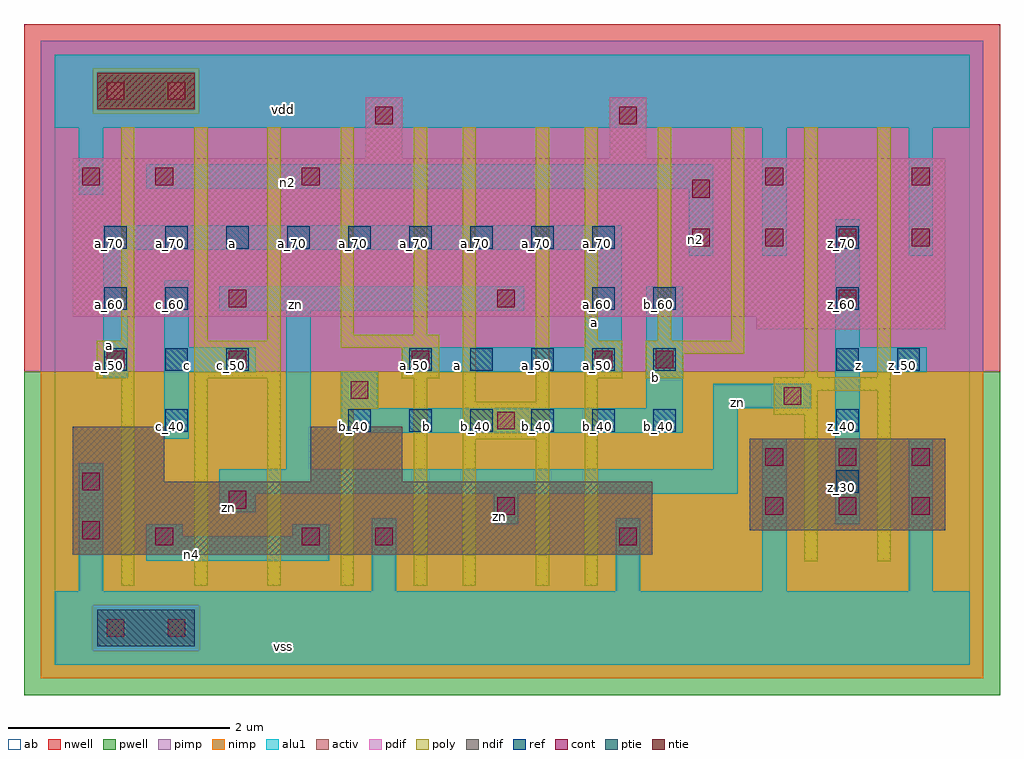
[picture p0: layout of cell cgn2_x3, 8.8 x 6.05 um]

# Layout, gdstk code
import gdstk
lib = gdstk.Library(unit=1e-6, precision=2.5e-09)
def R(c, l, rs):  # rectangles x0, y0, x1, y1
    for r in rs: c.add(gdstk.rectangle(r[:2], r[2:], *l))
def A(c, l, x, y, w, h, nx, ny, dx, dy):  # array of equal rectangles
    R(c, l, [(x+i*dx, y+j*dy, x+i*dx+w, y+j*dy+h) for i in range(nx) for j in range(ny)])
ndif = (3, 0)
pdif = (4, 0)
ntie = (5, 0)
ptie = (6, 0)
ref = (24, 0)
cont = (25, 0)
pwell = (41, 0)
nwell = (42, 0)
activ = (43, 0)
pimp = (44, 0)
nimp = (45, 0)
poly = (46, 0)
alu1 = (49, 0)
ab = (63, 0)

cgn2_x3 = lib.new_cell('cgn2_x3')
R(cgn2_x3, ndif, [(0.165,0.99,5.39,1.65), (6.27,1.21,8.03,2.035), (0.165,1.65,0.99,2.145), (2.31,1.65,3.135,2.145)])
R(cgn2_x3, pdif, [(6.325,3.025,8.03,3.135), (0.165,3.135,8.03,4.565), (2.805,4.565,3.135,5.115), (5.005,4.565,5.335,5.115)])
R(cgn2_x3, ntie, [(0.385,5.005,1.265,5.335)])
R(cgn2_x3, ptie, [(0.385,0.165,1.265,0.495)])
A(cgn2_x3, ref, 7.05, 1.55, 0.2, 0.2, 1, 5, 0, 0.55)
A(cgn2_x3, ref, 2.65, 2.1, 0.2, 0.2, 6, 1, 0.55, 0)
A(cgn2_x3, ref, 0.45, 2.65, 0.2, 0.2, 3, 1, 0.55, 0)
A(cgn2_x3, ref, 3.2, 2.65, 0.2, 0.2, 5, 1, 0.55, 0)
A(cgn2_x3, ref, 0.45, 3.75, 0.2, 0.2, 9, 1, 0.55, 0)
R(cgn2_x3, ref, [(1,2.1,1.2,2.3), (7.6,2.65,7.8,2.85), (0.45,3.2,0.65,3.4), (1,3.2,1.2,3.4), (4.85,3.2,5.05,3.4), (5.4,3.2,5.6,3.4)])
A(cgn2_x3, cont, 0.47, 0.25, 0.16, 0.16, 1, 3, 0, 2.42)
A(cgn2_x3, cont, 6.41, 1.35, 0.16, 0.16, 3, 2, 0.66, 0.44)
A(cgn2_x3, cont, 1.57, 2.67, 0.16, 0.16, 3, 1, 1.65, 0)
A(cgn2_x3, cont, 5.75, 3.77, 0.16, 0.16, 4, 1, 0.66, 0)
R(cgn2_x3, cont, [(1.02,0.25,1.18,0.41), (0.91,1.075,1.07,1.235), (2.23,1.075,2.39,1.235), (2.89,1.075,3.05,1.235), (5.09,1.075,5.25,1.235), (0.25,1.13,0.41,1.29), (3.99,1.35,4.15,1.51), (1.57,1.405,1.73,1.565), (0.25,1.57,0.41,1.73), (3.99,2.12,4.15,2.28), (6.575,2.34,6.735,2.5), (2.67,2.395,2.83,2.555), (5.42,2.67,5.58,2.83), (1.57,3.22,1.73,3.38), (3.99,3.22,4.15,3.38), (7.07,3.22,7.23,3.38), (5.75,4.21,5.91,4.37), (0.25,4.32,0.41,4.48), (0.91,4.32,1.07,4.48), (2.23,4.32,2.39,4.48), (6.41,4.32,6.57,4.48), (7.73,4.32,7.89,4.48), (2.89,4.87,3.05,5.03), (5.09,4.87,5.25,5.03), (1.02,5.09,1.18,5.25)])
R(cgn2_x3, pwell, [(-0.275,-0.275,8.525,2.64)])
R(cgn2_x3, nwell, [(-0.275,2.64,8.525,5.775)])
R(cgn2_x3, activ, [(0.385,0.165,1.265,0.495), (0.165,0.99,5.39,1.65), (6.27,1.21,8.03,2.035), (0.165,1.65,0.99,2.145), (2.31,1.65,3.135,2.145), (6.325,3.025,8.03,3.135), (0.165,3.135,8.03,4.565), (2.805,4.565,3.135,5.115), (5.005,4.565,5.335,5.115), (0.385,5.005,1.265,5.335)])
R(cgn2_x3, pimp, [(0.345,0.125,1.305,0.535), (-0.125,2.64,8.375,4.965), (-0.125,4.965,0.345,5.375), (1.305,4.965,8.375,5.375), (-0.125,5.375,8.375,5.625)])
R(cgn2_x3, nimp, [(-0.125,-0.125,8.375,0.125), (-0.125,0.125,0.345,0.535), (1.305,0.125,8.375,0.535), (-0.125,0.535,8.375,2.64), (0.345,4.965,1.305,5.375)])
A(cgn2_x3, poly, 0.6, 0.71, 0.12, 1.87, 3, 1, 0.66, 0)
A(cgn2_x3, poly, 0.6, 2.92, 0.12, 1.925, 3, 1, 0.66, 0)
A(cgn2_x3, poly, 4.78, 2.92, 0.12, 1.925, 3, 1, 0.66, 0)
R(cgn2_x3, poly, [(2.58,0.71,2.7,2.305), (3.24,0.71,3.36,2.58), (3.68,0.71,3.8,2.03), (4.34,0.71,4.46,2.03), (4.78,0.71,4.9,2.58), (6.76,0.93,6.88,2.25), (7.42,0.93,7.54,2.47), (3.68,2.03,4.46,2.37), (6.485,2.25,6.88,2.47), (2.58,2.305,2.92,2.645), (3.68,2.37,3.8,4.845), (4.34,2.37,4.46,4.845), (6.485,2.47,7.54,2.59), (0.38,2.58,0.72,2.92), (1.26,2.58,2.04,2.92), (3.13,2.58,3.47,2.855), (4.78,2.58,5.12,2.92), (5.33,2.58,5.67,2.8), (6.76,2.59,6.88,4.845), (7.42,2.59,7.54,4.845), (5.33,2.8,6.22,2.92), (2.58,2.855,3.47,2.975), (2.58,2.975,2.7,4.845), (3.24,2.975,3.36,4.845)])
R(cgn2_x3, alu1, [(0,0,8.25,0.66), (0.22,0.66,0.44,1.815), (2.86,0.66,3.08,1.32), (5.06,0.66,5.28,1.32), (6.38,0.66,6.6,2.035), (7.7,0.66,7.92,2.035), (0.825,0.935,2.475,1.155), (0.825,1.155,1.155,1.265), (2.145,1.155,2.475,1.265), (3.96,1.265,4.18,1.54), (7.04,1.265,7.26,2.64), (1.485,1.375,1.815,1.54), (1.485,1.54,6.16,1.76), (2.09,1.76,2.31,3.19), (5.94,1.76,6.16,2.31), (0.99,2.035,1.21,2.64), (2.585,2.09,5.665,2.31), (2.585,2.31,2.915,2.64), (5.335,2.31,5.665,3.41), (5.94,2.31,6.82,2.53), (0.44,2.585,0.66,3.74), (0.99,2.64,1.815,2.86), (3.135,2.64,5.115,2.86), (7.04,2.64,7.865,2.86), (0.99,2.86,1.21,3.465), (4.785,2.86,5.115,3.74), (7.04,2.86,7.26,4.015), (1.485,3.19,4.235,3.41), (5.72,3.685,5.94,4.29), (6.38,3.685,6.6,4.84), (7.7,3.685,7.92,4.84), (0.44,3.74,5.115,3.96), (0.22,4.235,0.44,4.84), (0.825,4.29,5.94,4.51), (0,4.84,8.25,5.5)])
R(cgn2_x3, ab, [(0,0,8.25,5.5)])
cgn2_x3.add(gdstk.Label('vss', (2.0625,0.165), layer=49, texttype=0))
cgn2_x3.add(gdstk.Label('zn', (4.015,1.3325), layer=49, texttype=0))
cgn2_x3.add(gdstk.Label('n4', (1.2375,0.99), layer=49, texttype=0))
cgn2_x3.add(gdstk.Label('zn', (1.5675,1.415), layer=49, texttype=0))
cgn2_x3.add(gdstk.Label('zn', (6.16,2.365), layer=49, texttype=0))
cgn2_x3.add(gdstk.Label('b', (3.355,2.145), layer=49, texttype=0))
cgn2_x3.add(gdstk.Label('z', (7.245,2.695), layer=49, texttype=0))
cgn2_x3.add(gdstk.Label('b', (5.4175,2.585), layer=49, texttype=0))
cgn2_x3.add(gdstk.Label('a', (3.63,2.695), layer=49, texttype=0))
cgn2_x3.add(gdstk.Label('n2', (5.775,3.835), layer=49, texttype=0))
cgn2_x3.add(gdstk.Label('a', (4.8675,3.08), layer=49, texttype=0))
cgn2_x3.add(gdstk.Label('c', (1.195,2.695), layer=49, texttype=0))
cgn2_x3.add(gdstk.Label('zn', (2.1725,3.245), layer=49, texttype=0))
cgn2_x3.add(gdstk.Label('a', (0.495,2.8725), layer=49, texttype=0))
cgn2_x3.add(gdstk.Label('a', (1.6075,3.795), layer=49, texttype=0))
cgn2_x3.add(gdstk.Label('n2', (2.1025,4.345), layer=49, texttype=0))
cgn2_x3.add(gdstk.Label('vdd', (2.0625,5.005), layer=49, texttype=0))
cgn2_x3.add(gdstk.Label('b_40', (3.25,2.15), layer=24, texttype=0))
cgn2_x3.add(gdstk.Label('b_40', (3.8,2.15), layer=24, texttype=0))
cgn2_x3.add(gdstk.Label('b_40', (4.35,2.15), layer=24, texttype=0))
cgn2_x3.add(gdstk.Label('b_40', (4.9,2.15), layer=24, texttype=0))
cgn2_x3.add(gdstk.Label('b_40', (2.7,2.15), layer=24, texttype=0))
cgn2_x3.add(gdstk.Label('a_60', (4.9,3.25), layer=24, texttype=0))
cgn2_x3.add(gdstk.Label('a_60', (0.5,3.25), layer=24, texttype=0))
cgn2_x3.add(gdstk.Label('a_70', (0.5,3.8), layer=24, texttype=0))
cgn2_x3.add(gdstk.Label('a_70', (1.05,3.8), layer=24, texttype=0))
cgn2_x3.add(gdstk.Label('a_70', (1.6,3.8), layer=24, texttype=0))
cgn2_x3.add(gdstk.Label('a_70', (2.15,3.8), layer=24, texttype=0))
cgn2_x3.add(gdstk.Label('a_70', (2.7,3.8), layer=24, texttype=0))
cgn2_x3.add(gdstk.Label('a_70', (3.25,3.8), layer=24, texttype=0))
cgn2_x3.add(gdstk.Label('a_70', (3.8,3.8), layer=24, texttype=0))
cgn2_x3.add(gdstk.Label('a_70', (4.35,3.8), layer=24, texttype=0))
cgn2_x3.add(gdstk.Label('a_50', (4.35,2.7), layer=24, texttype=0))
cgn2_x3.add(gdstk.Label('a_50', (3.8,2.7), layer=24, texttype=0))
cgn2_x3.add(gdstk.Label('a_70', (4.9,3.8), layer=24, texttype=0))
cgn2_x3.add(gdstk.Label('a_50', (4.9,2.7), layer=24, texttype=0))
cgn2_x3.add(gdstk.Label('a_50', (3.25,2.7), layer=24, texttype=0))
cgn2_x3.add(gdstk.Label('a_50', (0.5,2.7), layer=24, texttype=0))
cgn2_x3.add(gdstk.Label('b_50', (5.45,2.7), layer=24, texttype=0))
cgn2_x3.add(gdstk.Label('b_40', (5.45,2.15), layer=24, texttype=0))
cgn2_x3.add(gdstk.Label('c_50', (1.05,2.7), layer=24, texttype=0))
cgn2_x3.add(gdstk.Label('c_60', (1.05,3.25), layer=24, texttype=0))
cgn2_x3.add(gdstk.Label('c_50', (1.6,2.7), layer=24, texttype=0))
cgn2_x3.add(gdstk.Label('c_40', (1.05,2.15), layer=24, texttype=0))
cgn2_x3.add(gdstk.Label('b_60', (5.45,3.25), layer=24, texttype=0))
cgn2_x3.add(gdstk.Label('z_40', (7.1,2.15), layer=24, texttype=0))
cgn2_x3.add(gdstk.Label('z_30', (7.1,1.6), layer=24, texttype=0))
cgn2_x3.add(gdstk.Label('z_50', (7.1,2.7), layer=24, texttype=0))
cgn2_x3.add(gdstk.Label('z_50', (7.65,2.7), layer=24, texttype=0))
cgn2_x3.add(gdstk.Label('z_60', (7.1,3.25), layer=24, texttype=0))
cgn2_x3.add(gdstk.Label('z_70', (7.1,3.8), layer=24, texttype=0))

lib.write_gds('cgn2_x3.gds')
